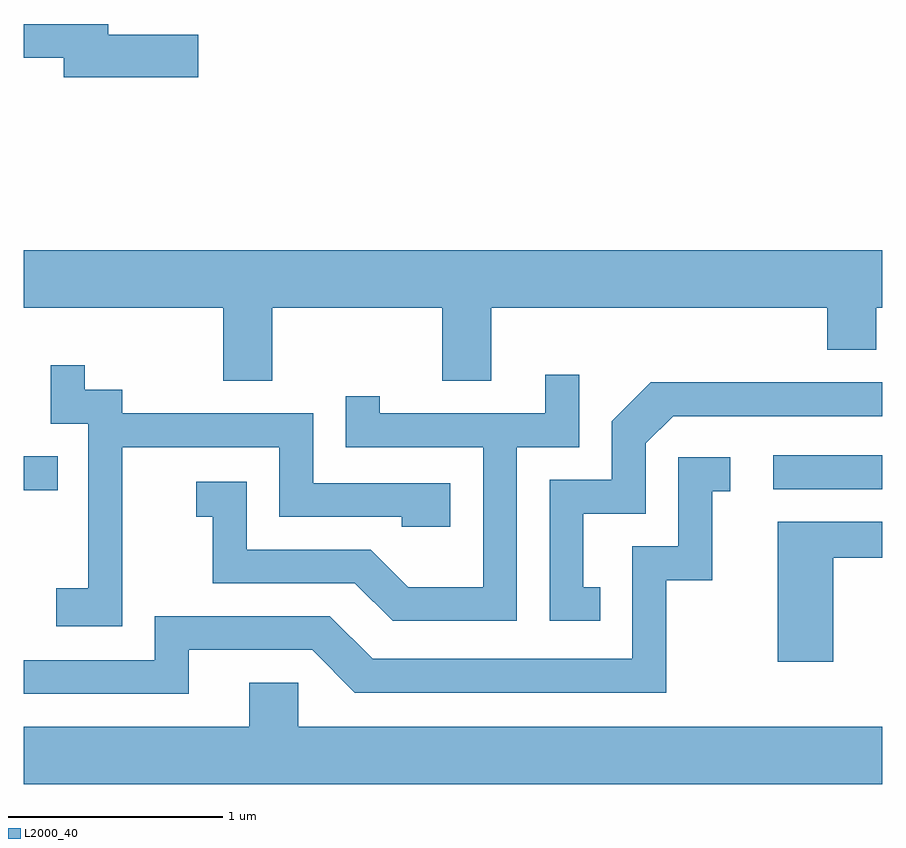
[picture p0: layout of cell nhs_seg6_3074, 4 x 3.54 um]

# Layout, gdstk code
import gdstk
lib = gdstk.Library(unit=1e-6, precision=1e-09)
def R(c, l, rs):  # rectangles x0, y0, x1, y1
    for r in rs: c.add(gdstk.rectangle(r[:2], r[2:], *l))
def P(c, l, *ps):  # polygons
    for p in ps: c.add(gdstk.Polygon(p, *l))
L2000_40 = (2000, 40)

nhs_seg6_3074 = lib.new_cell('nhs_seg6_3074')
R(nhs_seg6_3074, L2000_40, [(277.611,1615.786,277.768,1615.944), (281.103,1615.791,281.611,1615.949)])
P(nhs_seg6_3074, L2000_40, [(278.424,1617.909),(278.004,1617.909),(278.004,1617.959),(277.611,1617.959),(277.611,1617.801),(277.796,1617.801),(277.796,1617.711),(278.424,1617.711)],
  [(278.769,1616.636),(279.561,1616.636),(279.561,1616.296),(279.789,1616.296),(279.789,1616.636),(281.356,1616.636),(281.356,1616.441),(281.584,1616.441),(281.584,1616.636),(281.611,1616.636),(281.611,1616.904),(277.611,1616.904),(277.611,1616.636),(278.541,1616.636),(278.541,1616.296),(278.769,1616.296)],
  [(278.069,1615.986),(278.801,1615.986),(278.801,1615.661),(279.371,1615.661),(279.371,1615.616),(279.599,1615.616),(279.599,1615.819),(278.959,1615.819),(278.959,1616.144),(278.069,1616.144),(278.069,1616.254),(277.894,1616.254),(277.894,1616.368),(277.736,1616.368),(277.736,1616.096),(277.911,1616.096),(277.911,1615.329),(277.761,1615.329),(277.761,1615.151),(278.069,1615.151)],
  [(279.909,1615.986),(280.199,1615.986),(280.199,1616.323),(280.041,1616.323),(280.041,1616.144),(279.269,1616.144),(279.269,1616.223),(279.111,1616.223),(279.111,1615.986),(279.751,1615.986),(279.751,1615.334),(279.402,1615.334),(279.227,1615.509),(278.649,1615.509),(278.649,1615.824),(278.413,1615.824),(278.413,1615.661),(278.491,1615.661),(278.491,1615.351),(279.154,1615.351),(279.329,1615.176),(279.909,1615.176)],
  [(280.298,1615.334),(280.219,1615.334),(280.219,1615.676),(280.509,1615.676),(280.509,1616.004),(280.637,1616.131),(281.611,1616.131),(281.611,1616.289),(280.534,1616.289),(280.351,1616.107),(280.351,1615.834),(280.061,1615.834),(280.061,1615.176),(280.298,1615.176)],
  [(278.379,1615.041),(278.954,1615.041),(279.154,1614.841),(280.604,1614.841),(280.604,1615.366),(280.819,1615.366),(280.819,1615.781),(280.903,1615.781),(280.903,1615.939),(280.661,1615.939),(280.661,1615.524),(280.446,1615.524),(280.446,1614.999),(279.237,1614.999),(279.037,1615.199),(278.221,1615.199),(278.221,1614.994),(277.611,1614.994),(277.611,1614.836),(278.379,1614.836)],
  [(281.384,1615.471),(281.611,1615.471),(281.611,1615.639),(281.126,1615.639),(281.126,1614.986),(281.384,1614.986)],
  [(281.611,1614.684),(278.889,1614.684),(278.889,1614.889),(278.661,1614.889),(278.661,1614.684),(277.611,1614.684),(277.611,1614.416),(281.611,1614.416)])

lib.write_gds('nhs_seg6_3074.gds')
